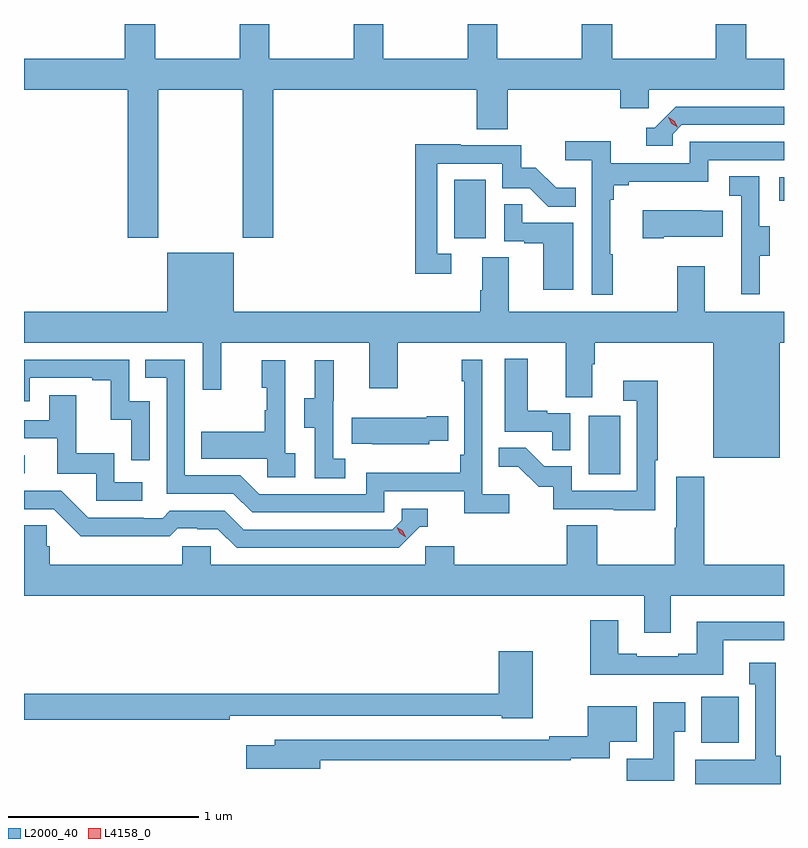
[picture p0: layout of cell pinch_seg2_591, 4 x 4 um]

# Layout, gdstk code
import gdstk
lib = gdstk.Library(unit=1e-6, precision=1e-09)
def R(c, l, rs):  # rectangles x0, y0, x1, y1
    for r in rs: c.add(gdstk.rectangle(r[:2], r[2:], *l))
def P(c, l, *ps):  # polygons
    for p in ps: c.add(gdstk.Polygon(p, *l))
L2000_40 = (2000, 40)
L4158_0 = (4158, 0)

pinch_seg2_591 = lib.new_cell('pinch_seg2_591')
R(pinch_seg2_591, L2000_40, [(1075.043,614.894,1075.24,615.136), (1074.452,616.308,1074.616,616.615), (1071.479,616.314,1071.484,616.407), (1073.744,617.55,1073.908,617.857), (1075.455,617.747,1075.479,617.871)])
P(pinch_seg2_591, L2000_40, [(1072.185,618.332),(1072.63,618.332),(1072.63,617.553),(1072.79,617.553),(1072.79,618.332),(1073.861,618.332),(1073.861,618.124),(1074.026,618.124),(1074.026,618.332),(1074.617,618.332),(1074.617,618.234),(1074.768,618.234),(1074.768,618.332),(1075.479,618.332),(1075.479,618.496),(1075.281,618.496),(1075.281,618.678),(1075.121,618.678),(1075.121,618.496),(1074.575,618.496),(1074.575,618.678),(1074.415,618.678),(1074.415,618.496),(1073.97,618.496),(1073.97,618.678),(1073.815,618.678),(1073.815,618.496),(1073.37,618.496),(1073.37,618.678),(1073.215,618.678),(1073.215,618.496),(1072.77,618.496),(1072.77,618.678),(1072.615,618.678),(1072.615,618.496),(1072.17,618.496),(1072.17,618.678),(1072.01,618.678),(1072.01,618.496),(1071.479,618.496),(1071.479,618.332),(1072.025,618.332),(1072.025,617.553),(1072.185,617.553)],
  [(1074.894,618.099),(1074.942,618.147),(1075.479,618.147),(1075.479,618.243),(1074.909,618.243),(1074.798,618.132),(1074.755,618.132),(1074.755,618.036),(1074.894,618.036)],
  [(1074.577,617.465),(1074.565,617.465),(1074.565,617.753),(1074.584,617.753),(1074.584,617.83),(1074.661,617.83),(1074.661,617.849),(1075.08,617.849),(1075.08,617.961),(1075.479,617.961),(1075.479,618.057),(1074.984,618.057),(1074.984,617.946),(1074.566,617.946),(1074.566,618.062),(1074.327,618.062),(1074.327,617.96),(1074.468,617.96),(1074.468,617.253),(1074.577,617.253)],
  [(1073.728,617.469),(1073.655,617.469),(1073.655,617.943),(1073.997,617.943),(1073.997,617.814),(1074.141,617.814),(1074.239,617.716),(1074.383,617.716),(1074.383,617.815),(1074.279,617.815),(1074.172,617.922),(1074.096,617.922),(1074.096,618.039),(1073.777,618.039),(1073.777,618.044),(1073.539,618.044),(1073.539,617.364),(1073.728,617.364)],
  [(1075.351,617.458),(1075.405,617.458),(1075.405,617.613),(1075.35,617.613),(1075.35,617.876),(1075.191,617.876),(1075.191,617.773),(1075.254,617.773),(1075.254,617.469),(1075.253,617.469),(1075.253,617.256),(1075.351,617.256)],
  [(1074.37,617.631),(1074.101,617.631),(1074.101,617.729),(1074.006,617.729),(1074.006,617.535),(1074.113,617.535),(1074.113,617.523),(1074.212,617.523),(1074.212,617.28),(1074.37,617.28)],
  [(1074.847,617.558),(1075.157,617.558),(1075.157,617.695),(1075.049,617.695),(1075.049,617.698),(1074.735,617.698),(1074.735,617.551),(1074.847,617.551)],
  [(1073.891,617.45),(1073.891,617.276),(1073.879,617.276),(1073.879,617.164),(1072.582,617.164),(1072.582,617.473),(1072.232,617.473),(1072.232,617.164),(1071.479,617.164),(1071.479,617),(1072.419,617),(1072.419,616.752),(1072.517,616.752),(1072.517,617),(1073.297,617),(1073.297,616.761),(1073.445,616.761),(1073.445,617),(1074.329,617),(1074.329,616.714),(1074.469,616.714),(1074.469,616.888),(1074.482,616.888),(1074.482,617),(1075.106,617),(1075.106,616.394),(1075.456,616.394),(1075.456,617),(1075.479,617),(1075.479,617.164),(1075.063,617.164),(1075.063,617.404),(1074.916,617.404),(1074.916,617.164),(1074.031,617.164),(1074.031,617.45)],
  [(1074.354,616.629),(1074.233,616.629),(1074.233,616.642),(1074.13,616.642),(1074.13,616.915),(1074.008,616.915),(1074.008,616.533),(1074.259,616.533),(1074.259,616.435),(1074.354,616.435)],
  [(1074.034,616.204),(1073.892,616.204),(1073.892,616.912),(1073.784,616.912),(1073.784,616.799),(1073.796,616.799),(1073.796,616.411),(1073.776,616.411),(1073.776,616.315),(1073.28,616.315),(1073.28,616.203),(1072.716,616.203),(1072.617,616.302),(1072.326,616.302),(1072.326,616.911),(1072.117,616.911),(1072.117,616.815),(1072.23,616.815),(1072.23,616.206),(1072.58,616.206),(1072.679,616.107),(1073.376,616.107),(1073.376,616.218),(1073.795,616.218),(1073.795,616.102),(1074.034,616.102)],
  [(1072.14,616.692),(1072.032,616.692),(1072.032,616.911),(1071.479,616.911),(1071.479,616.692),(1071.51,616.692),(1071.51,616.815),(1071.839,616.815),(1071.839,616.803),(1071.935,616.803),(1071.935,616.595),(1072.044,616.595),(1072.044,616.383),(1072.14,616.383)],
  [(1072.906,616.418),(1072.854,616.418),(1072.854,616.909),(1072.73,616.909),(1072.73,616.764),(1072.756,616.764),(1072.756,616.646),(1072.746,616.646),(1072.746,616.531),(1072.411,616.531),(1072.411,616.391),(1072.758,616.391),(1072.758,616.293),(1072.906,616.293)],
  [(1073.17,616.391),(1073.106,616.391),(1073.106,616.695),(1073.108,616.695),(1073.108,616.909),(1073.009,616.909),(1073.009,616.707),(1072.955,616.707),(1072.955,616.552),(1073.01,616.552),(1073.01,616.288),(1073.17,616.288)],
  [(1074.801,616.381),(1074.814,616.381),(1074.814,616.801),(1074.633,616.801),(1074.633,616.695),(1074.705,616.695),(1074.705,616.221),(1074.363,616.221),(1074.363,616.35),(1074.218,616.35),(1074.12,616.448),(1073.977,616.448),(1073.977,616.349),(1074.081,616.349),(1074.188,616.242),(1074.265,616.242),(1074.265,616.125),(1074.583,616.125),(1074.583,616.12),(1074.801,616.12)],
  [(1072.102,616.266),(1071.954,616.266),(1071.954,616.42),(1071.755,616.42),(1071.755,616.723),(1071.611,616.723),(1071.611,616.593),(1071.479,616.593),(1071.479,616.497),(1071.653,616.497),(1071.653,616.311),(1071.858,616.311),(1071.858,616.17),(1072.102,616.17)],
  [(1073.613,616.484),(1073.711,616.484),(1073.711,616.614),(1073.6,616.614),(1073.6,616.606),(1073.203,616.606),(1073.203,616.469),(1073.311,616.469),(1073.311,616.466),(1073.613,616.466)],
  [(1074.743,615.474),(1074.883,615.474),(1074.883,615.668),(1075.479,615.668),(1075.479,615.832),(1075.059,615.832),(1075.059,616.294),(1074.911,616.294),(1074.911,616.028),(1074.904,616.028),(1074.904,615.832),(1074.495,615.832),(1074.495,616.04),(1074.335,616.04),(1074.335,615.832),(1073.744,615.832),(1073.744,615.93),(1073.592,615.93),(1073.592,615.832),(1072.461,615.832),(1072.461,615.93),(1072.311,615.93),(1072.311,615.832),(1071.614,615.832),(1071.614,615.93),(1071.599,615.93),(1071.599,616.04),(1071.479,616.04),(1071.479,615.668),(1074.743,615.668)],
  [(1073.562,616.032),(1073.605,616.032),(1073.605,616.128),(1073.466,616.128),(1073.466,616.065),(1073.418,616.017),(1072.635,616.017),(1072.536,616.116),(1072.247,616.116),(1072.208,616.077),(1072.109,616.077),(1072.109,616.08),(1071.816,616.08),(1071.675,616.221),(1071.479,616.221),(1071.479,616.125),(1071.636,616.125),(1071.778,615.983),(1072.014,615.983),(1072.014,615.981),(1072.247,615.981),(1072.289,616.023),(1072.392,616.023),(1072.392,616.02),(1072.499,616.02),(1072.598,615.921),(1073.451,615.921)],
  [(1075.159,615.435),(1075.479,615.435),(1075.479,615.532),(1075.019,615.532),(1075.019,615.364),(1074.923,615.364),(1074.923,615.351),(1074.703,615.351),(1074.703,615.364),(1074.607,615.364),(1074.607,615.541),(1074.46,615.541),(1074.46,615.254),(1075.159,615.254)],
  [(1072.562,615.036),(1073.994,615.036),(1073.994,615.023),(1074.156,615.023),(1074.156,615.376),(1073.978,615.376),(1073.978,615.152),(1071.479,615.152),(1071.479,615.016),(1072.562,615.016)],
  [(1075.462,614.826),(1075.435,614.826),(1075.435,615.316),(1075.295,615.316),(1075.295,615.203),(1075.328,615.203),(1075.328,614.806),(1075.011,614.806),(1075.011,614.678),(1075.462,614.678)],
  [(1074.901,614.953),(1074.958,614.953),(1074.958,615.109),(1074.791,615.109),(1074.791,614.812),(1074.652,614.812),(1074.652,614.694),(1074.901,614.694)],
  [(1073.038,614.802),(1074.356,614.802),(1074.356,614.813),(1074.562,614.813),(1074.562,614.9),(1074.703,614.9),(1074.703,615.088),(1074.445,615.088),(1074.445,614.93),(1074.244,614.93),(1074.244,614.91),(1072.799,614.91),(1072.799,614.881),(1072.65,614.881),(1072.65,614.759),(1073.038,614.759)])
P(pinch_seg2_591, L4158_0, [(1074.92,618.134),(1074.888,618.153),(1074.871,618.186),(1074.871,618.186),(1074.872,618.186),(1074.903,618.167),(1074.92,618.134),(1074.92,618.134)],
  [(1073.488,615.978),(1073.457,615.997),(1073.441,616.03),(1073.441,616.03),(1073.441,616.03),(1073.472,616.011),(1073.488,615.978),(1073.488,615.978)])

lib.write_gds('pinch_seg2_591.gds')
